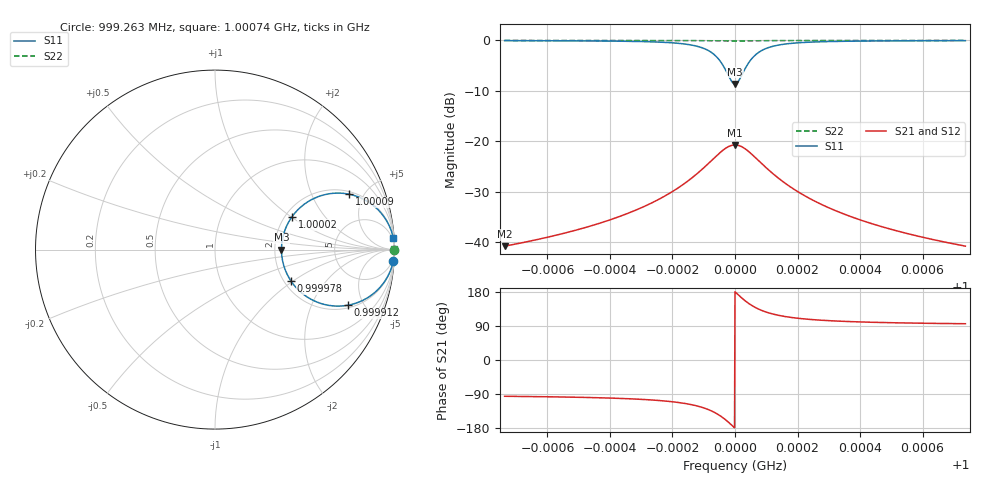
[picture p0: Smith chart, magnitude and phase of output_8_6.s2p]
! File generated for n1 = 8, n2 = 6
! b1 = 0.464159
! b2 = 0.010000
! Q0 = 10000.000000
! f0 = 1000000000.000000
! n = 1001
! rel_span = 10.000000
# Hz S RI R 50
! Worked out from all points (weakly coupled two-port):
!   1001 points, 999.263 MHz to 1.00074 GHz, reference 50 ohm
!   highest |S21| = -20.68 dB at 1 GHz (marker M1); lowest = -40.7 dB at 999.263 MHz (marker M2)
!   lowest |S11| = -8.6 dB at 1 GHz (marker M3), VSWR 2.18, Z = 109 + j0 ohm
!   |S11| at or under -10 dB: nowhere
!   |S22| runs from -0.1 to 0.0 dB; largest |S21 - S12| = 0
!   S11 on the Smith chart (normalised r, x): 999.263 MHz: 2, -32; 999.912 MHz: 2.18, -3.81; 999.978 MHz: 2.18, -0.95; 1.00002 GHz: 2.18, +1.02; 1.00009 GHz: 2.18, +3.87; 1.00074 GHz: 2, +32
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9.992629e8  0.9938 -0.0623  -0.000914 -0.00915  -0.000914 -0.00915  0.9999 -0.00134
9.995091e8  0.9861 -0.0924  -0.00204 -0.0136  -0.00204 -0.0136  0.9997 -0.00199
9.996447e8  0.974 -0.1252  -0.00381 -0.0184  -0.00381 -0.0184  0.9994 -0.0027
9.997553e8  0.9476 -0.1739  -0.00769 -0.0255  -0.00769 -0.0255  0.9989 -0.00375
9.998496e8  0.878 -0.2489  -0.0179 -0.0365  -0.0179 -0.0365  0.9974 -0.00536
9.998835e8  0.8199 -0.2846  -0.0264 -0.0418  -0.0264 -0.0418  0.9961 -0.00613
9.999116e8  0.7419 -0.3097  -0.0379 -0.0455  -0.0379 -0.0455  0.9944 -0.00667
9.999484e8  0.5774 -0.2958  -0.062 -0.0434  -0.062 -0.0434  0.9909 -0.00637
9.999631e8  0.4962 -0.2519  -0.0739 -0.037  -0.0739 -0.037  0.9891 -0.00543
9.999779e8  0.4223 -0.1733  -0.0848 -0.0254  -0.0848 -0.0254  0.9876 -0.00373
9.999912e8  0.3792 -0.0745  -0.0911 -0.0109  -0.0911 -0.0109  0.9866 -0.0016
1e9  0.3703 0  -0.0924 0  -0.0924 0  0.9864 0
1.00001e9  0.3824 0.0865  -0.0907 0.0127  -0.0907 0.0127  0.9867 0.00186
1.000024e9  0.4288 0.1828  -0.0838 0.0268  -0.0838 0.0268  0.9877 0.00394
1.000052e9  0.5774 0.2958  -0.062 0.0434  -0.062 0.0434  0.9909 0.00637
1.00009e9  0.7469 0.3087  -0.0371 0.0453  -0.0371 0.0453  0.9945 0.00665
1.000118e9  0.8231 0.283  -0.026 0.0415  -0.026 0.0415  0.9962 0.0061
1.000152e9  0.8799 0.2474  -0.0176 0.0363  -0.0176 0.0363  0.9974 0.00533
1.000246e9  0.9482 0.173  -0.00761 0.0254  -0.00761 0.0254  0.9989 0.00373
1.000357e9  0.9742 0.1248  -0.00379 0.0183  -0.00379 0.0183  0.9994 0.00269
1.000492e9  0.9862 0.0922  -0.00203 0.0135  -0.00203 0.0135  0.9997 0.00199
1.000737e9  0.9938 0.0624  -0.000916 0.00915  -0.000916 0.00915  0.9999 0.00134
